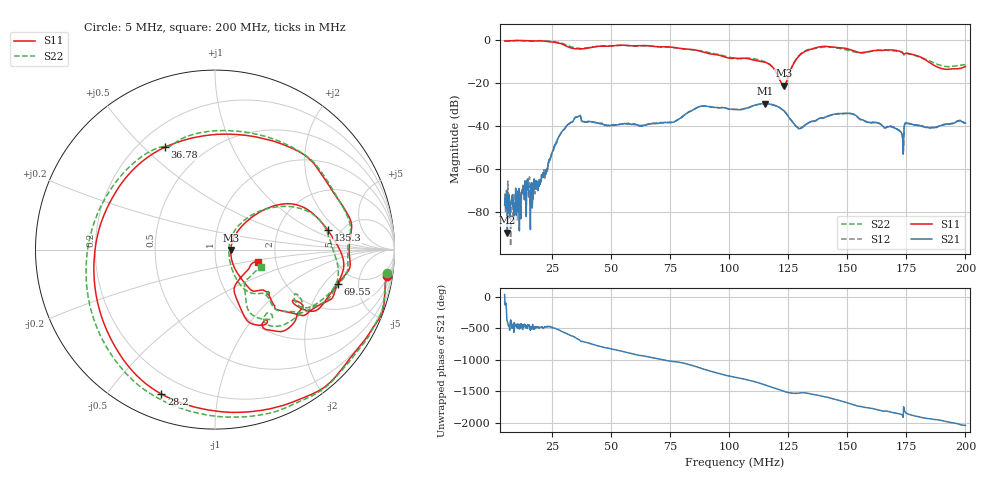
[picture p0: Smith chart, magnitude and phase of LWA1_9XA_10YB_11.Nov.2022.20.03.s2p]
!Keysight Technologies N9917A: A.12.46
!Date: Friday, 11 November 2022 20:04:13
!Timezone: (UTC) Coordinated Universal Time
!Model: N9917A
!Serial: MY56071016
!GPS Latitude:
!GPS Longitude:
!GPS TimeStamp: 0001-01-01 00:00:00Z
!GPS Seconds Since Last Read: 0
!CHECKSUM:0101649263
!Correction: S11(ON U)S21(ON U)S12(ON U)S22(ON U)
!S2P File: Measurements:S11,S21,S12,S22:
# Hz S DB R 50
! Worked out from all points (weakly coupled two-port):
!   1001 points, 5 MHz to 200 MHz, reference 50 ohm
!   highest |S21| = -29.48 dB at 115.2 MHz (marker M1); lowest = -89.7 dB at 6.17 MHz (marker M2)
!   lowest |S11| = -21.2 dB at 123.2 MHz (marker M3), VSWR 1.19, Z = 59.6 - j0.183 ohm
!   |S11| at or under -10 dB: 114.4 MHz to 127.8 MHz (13.34 MHz wide, 11 % of centre); 184.3 MHz to end of sweep
!   |S22| runs from -22.2 to -0.1 dB; largest |S21 - S12| = 0.00062
!   S11 on the Smith chart (normalised r, x): 5 MHz: 2, -12; 28.2 MHz: 0.11, -0.69; 36.78 MHz: 0.30, +0.58; 69.55 MHz: 3.61, -2.83; 135.3 MHz: 3.96, +1.44; 200 MHz: 1.61, -0.23
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5000000  -0.26 -8.8  -76.91 37.4  -73.26 11.4  -0.29 -7.7
6170000  -0.28 -11.7  -89.74 -36.3  -79.98 -56.2  -0.29 -10.6
1.4555e7  -0.24 -32.0  -67.45 -138.8  -66.24 -143.5  -0.17 -31.3
1.6895e7  -0.30 -39.7  -71.96 -77.8  -70.15 -113.4  -0.23 -39.0
2.8205e7  -1.33 -110.3  -44.51 -168.9  -44.49 -169.1  -1.00 -108.7
3.2495e7  -3.34 -172.5  -38.81 114.9  -38.69 114.5  -2.72 -169.2
3.6785e7  -3.95 116.2  -35.07 32.7  -35.11 32.4  -3.77 118.2
3.7565e7  -3.96 105.5  -37.50 11.1  -37.56 10.8  -3.92 110.0
4.7705e7  -2.77 31.9  -39.57 -86.8  -39.44 -87.4  -2.69 32.6
6.9545e7  -2.95 -15.8  -38.61 100.2  -38.76 100.0  -2.90 -15.7
7.013e7  -2.98 -16.8  -38.69 94.9  -38.76 95.8  -2.96 -16.6
1.025e8  -8.23 -40.0  -32.13 163.4  -32.23 164.1  -8.49 -41.2
1.15175e8  -10.20 -47.8  -29.48 42.2  -29.52 42.3  -9.97 -49.8
1.2317e8  -21.15 -1.0  -32.79 -58.8  -32.73 -58.3  -22.24 -0.4
1.2941e8  -7.49 35.9  -41.17 -88.8  -40.99 -89.3  -7.32 33.8
1.35065e8  -3.97 10.6  -37.64 -105.9  -37.67 -105.0  -3.95 7.9
1.3526e8  -3.91 9.8  -37.85 -106.9  -37.79 -107.2  -3.93 7.1
1.5086e8  -4.16 -33.3  -34.03 108.5  -34.02 108.2  -4.78 -33.8
1.6763e8  -4.43 -44.9  -40.36 -22.4  -40.18 -20.2  -4.67 -41.6
1.72895e8  -5.33 -55.9  -43.07 -66.9  -43.04 -67.3  -5.52 -53.5
1.7543e8  -6.02 -57.1  -38.77 -55.6  -38.71 -55.6  -6.16 -52.3
2e8  -12.12 -15.6  -38.54 119.5  -38.44 117.9  -11.28 -20.3
